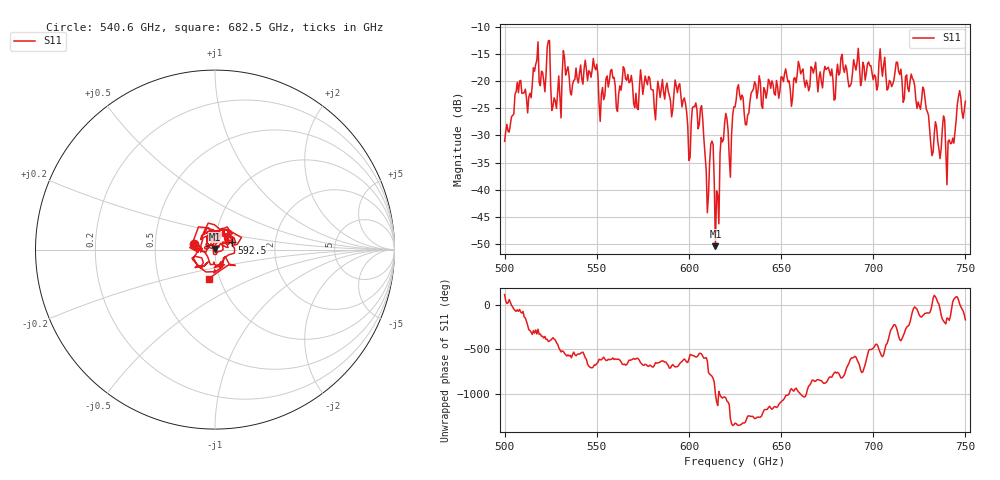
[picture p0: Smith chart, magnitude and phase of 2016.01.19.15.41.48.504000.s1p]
!Created with skrf (http://scikit-rf.org).
# GHz S RI R 50.0
!freq ReS11 ImS11
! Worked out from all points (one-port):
!   401 points, 500 GHz to 750 GHz, reference 50 ohm
!   lowest |S11| = -50.4 dB at 614.4 GHz (marker M1), VSWR 1.01, Z = 50 + j0.299 ohm
!   |S11| at or under -10 dB: start of sweep to end of sweep
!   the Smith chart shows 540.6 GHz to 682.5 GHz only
!   S11 on the Smith chart (normalised r, x): 540.6 GHz: 0.79, +0.05; 592.5 GHz: 1.20, +0.10; 682.5 GHz: 0.89, -0.30
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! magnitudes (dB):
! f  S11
! 500 GHz  -31.1
! 507.5 GHz  -22.1
! 513.8 GHz  -22.2
! 516.9 GHz  -16.9
! 523.8 GHz  -12.6
! 526.9 GHz  -23.0
! 531.2 GHz  -18.5
! 540.6 GHz  -18.5
! 562.5 GHz  -20.9
! 592.5 GHz  -19.8
! 593.8 GHz  -22.1
! 600 GHz  -34.6
! 603.1 GHz  -24.7
! 606.9 GHz  -24.5
! 609.4 GHz  -36.4
! 612.5 GHz  -31.0
! 614.4 GHz  -50.4
! 615.6 GHz  -41.0
! 618.8 GHz  -30.8
! 622.5 GHz  -37.7
! 625 GHz  -24.8
! 656.2 GHz  -23.1
! 682.5 GHz  -15.6
! 687.5 GHz  -20.8
! 718.8 GHz  -21.3
! 740.6 GHz  -31.1
! 746.2 GHz  -22.9
! 750 GHz  -23.7
